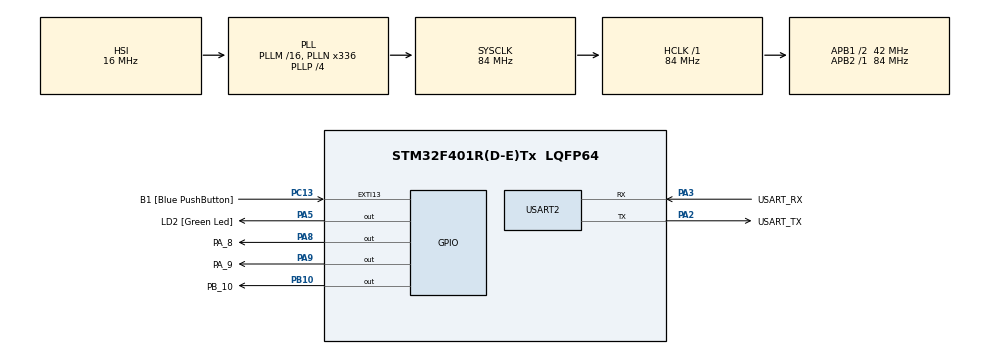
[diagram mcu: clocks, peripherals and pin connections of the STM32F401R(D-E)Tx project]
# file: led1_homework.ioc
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FREERTOS.Tasks01=defaultTask,0,128,StartDefaultTask,Default,NULL,Dynamic,NULL,NULL;myTask02,0,128,StartTask02,Default,NULL,Dynamic,NULL,NULL
Mcu.Family=STM32F4
Mcu.Name=STM32F401R(D-E)Tx
Mcu.Package=LQFP64
NVIC.PriorityGroup=NVIC_PRIORITYGROUP_4
PA13.GPIO_Label=TMS
PA13.Mode=Serial_Wire
PA13.Signal=SYS_JTMS-SWDIO
PA14.GPIO_Label=TCK
PA14.Mode=Serial_Wire
PA14.Signal=SYS_JTCK-SWCLK
PA2.GPIO_Label=USART_TX
PA2.GPIO_Mode=GPIO_MODE_AF_PP
PA2.GPIO_PuPd=GPIO_NOPULL
PA2.GPIO_Speed=GPIO_SPEED_FREQ_LOW
PA2.Mode=Asynchronous
PA2.Signal=USART2_TX
PA3.GPIO_Label=USART_RX
PA3.GPIO_Mode=GPIO_MODE_AF_PP
PA3.GPIO_PuPd=GPIO_NOPULL
PA3.GPIO_Speed=GPIO_SPEED_FREQ_LOW
PA3.Mode=Asynchronous
PA3.Signal=USART2_RX
PA5.GPIO_Label=LD2 [Green Led]
PA5.GPIO_Mode=GPIO_MODE_OUTPUT_PP
PA5.GPIO_PuPd=GPIO_NOPULL
PA5.GPIO_Speed=GPIO_SPEED_FREQ_LOW
PA5.Signal=GPIO_Output
PA8.GPIO_Label=PA_8
PA8.Signal=GPIO_Output
PA9.GPIO_Label=PA_9
PA9.Signal=GPIO_Output
PB10.GPIO_Label=PB_10
PB10.Signal=GPIO_Output
PB3.GPIO_Label=SWO
PB3.Signal=SYS_JTDO-SWO
PC13-ANTI_TAMP.GPIO_Label=B1 [Blue PushButton]
PC13-ANTI_TAMP.GPIO_ModeDefaultEXTI=GPIO_MODE_IT_FALLING
PC13-ANTI_TAMP.GPIO_PuPd=GPIO_NOPULL
PC13-ANTI_TAMP.Signal=GPXTI13
PC14-OSC32_IN.Mode=LSE-External-Oscillator
PC14-OSC32_IN.Signal=RCC_OSC32_IN
PC15-OSC32_OUT.Mode=LSE-External-Oscillator
PC15-OSC32_OUT.Signal=RCC_OSC32_OUT
PH0\ -\ OSC_IN.Mode=HSE-External-Clock-Source
PH0\ -\ OSC_IN.Signal=RCC_OSC_IN
PH1\ -\ OSC_OUT.Mode=HSE-External-Clock-Source
PH1\ -\ OSC_OUT.Signal=RCC_OSC_OUT
ProjectManager.HeapSize=0x200
ProjectManager.StackSize=0x400
ProjectManager.TargetToolchain=SW4STM32
RCC.48MHZClocksFreq_Value=48000000
RCC.AHBFreq_Value=84000000
RCC.APB1CLKDivider=RCC_HCLK_DIV2
RCC.APB1Freq_Value=42000000
RCC.APB1TimFreq_Value=84000000
RCC.APB2Freq_Value=84000000
RCC.APB2TimFreq_Value=84000000
RCC.CortexFreq_Value=84000000
RCC.HCLKFreq_Value=84000000
RCC.HSE_VALUE=8000000
RCC.HSI_VALUE=16000000
RCC.PLLN=336
RCC.PLLP=RCC_PLLP_DIV4
RCC.PLLQ=7
RCC.SYSCLKFreq_VALUE=84000000
RCC.SYSCLKSource=RCC_SYSCLKSOURCE_PLLCLK
RCC.VCOOutputFreq_Value=336000000
USART2.VirtualMode=VM_ASYNC
VP_FREERTOS_VS_CMSIS_V1.Mode=CMSIS_V1
board=NUCLEO-F401RE

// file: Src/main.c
/* USER CODE BEGIN Header */
/**
  ******************************************************************************
  * @file           : main.c
  * @brief          : Main program body
  ******************************************************************************
  * @attention
  *
  * <h2><center>&copy; Copyright (c) 2019 STMicroelectronics.
  * All rights reserved.</center></h2>
  *
  * This software component is licensed by ST under Ultimate Liberty license
  * SLA0044, the "License"; You may not use this file except in compliance with
  * the License. You may obtain a copy of the License at:
  *                             www.st.com/SLA0044
  *
  ******************************************************************************
  */
/* USER CODE END Header */

#include "main.h"
#include "cmsis_os.h"

UART_HandleTypeDef huart2;

osThreadId defaultTaskHandle;
osThreadId myTask02Handle;

void SystemClock_Config(void);
static void MX_GPIO_Init(void);
static void MX_USART2_UART_Init(void);
void StartDefaultTask(void const * argument);
void StartTask02(void const * argument);

int main(void)
{

  /* MCU Configuration--------------------------------------------------------*/

  /* Reset of all peripherals, Initializes the Flash interface and the Systick. */
  HAL_Init();

  /* Configure the system clock */
  SystemClock_Config();

  /* Initialize all configured peripherals */
  MX_GPIO_Init();
  MX_USART2_UART_Init();

  /* Create the thread(s) */
  /* definition and creation of defaultTask */
  osThreadDef(defaultTask, StartDefaultTask, osPriorityNormal, 0, 128);
  defaultTaskHandle = osThreadCreate(osThread(defaultTask), NULL);

  /* definition and creation of myTask02 */
  osThreadDef(myTask02, StartTask02, osPriorityNormal, 0, 128);
  myTask02Handle = osThreadCreate(osThread(myTask02), NULL);

  /* Start scheduler */
  osKernelStart();

  /* We should never get here as control is now taken by the scheduler */

  /* Infinite loop */
  while (1)
  {

  }
}

void SystemClock_Config(void)
{
  RCC_OscInitTypeDef RCC_OscInitStruct = {0};
  RCC_ClkInitTypeDef RCC_ClkInitStruct = {0};

  /** Configure the main internal regulator output voltage
  */
  __HAL_RCC_PWR_CLK_ENABLE();
  __HAL_PWR_VOLTAGESCALING_CONFIG(PWR_REGULATOR_VOLTAGE_SCALE2);
  /** Initializes the CPU, AHB and APB busses clocks
  */
  RCC_OscInitStruct.OscillatorType = RCC_OSCILLATORTYPE_HSI;
  RCC_OscInitStruct.HSIState = RCC_HSI_ON;
  RCC_OscInitStruct.HSICalibrationValue = RCC_HSICALIBRATION_DEFAULT;
  RCC_OscInitStruct.PLL.PLLState = RCC_PLL_ON;
  RCC_OscInitStruct.PLL.PLLSource = RCC_PLLSOURCE_HSI;
  RCC_OscInitStruct.PLL.PLLM = 16;
  RCC_OscInitStruct.PLL.PLLN = 336;
  RCC_OscInitStruct.PLL.PLLP = RCC_PLLP_DIV4;
  RCC_OscInitStruct.PLL.PLLQ = 7;
  if (HAL_RCC_OscConfig(&RCC_OscInitStruct) != HAL_OK)
  {
    Error_Handler();
  }
  /** Initializes the CPU, AHB and APB busses clocks
  */
  RCC_ClkInitStruct.ClockType = RCC_CLOCKTYPE_HCLK|RCC_CLOCKTYPE_SYSCLK
                              |RCC_CLOCKTYPE_PCLK1|RCC_CLOCKTYPE_PCLK2;
  RCC_ClkInitStruct.SYSCLKSource = RCC_SYSCLKSOURCE_PLLCLK;
  RCC_ClkInitStruct.AHBCLKDivider = RCC_SYSCLK_DIV1;
  RCC_ClkInitStruct.APB1CLKDivider = RCC_HCLK_DIV2;
  RCC_ClkInitStruct.APB2CLKDivider = RCC_HCLK_DIV1;

  if (HAL_RCC_ClockConfig(&RCC_ClkInitStruct, FLASH_LATENCY_2) != HAL_OK)
  {
    Error_Handler();
  }
}

static void MX_USART2_UART_Init(void)
{

  huart2.Instance = USART2;
  huart2.Init.BaudRate = 115200;
  huart2.Init.WordLength = UART_WORDLENGTH_8B;
  huart2.Init.StopBits = UART_STOPBITS_1;
  huart2.Init.Parity = UART_PARITY_NONE;
  huart2.Init.Mode = UART_MODE_TX_RX;
  huart2.Init.HwFlowCtl = UART_HWCONTROL_NONE;
  huart2.Init.OverSampling = UART_OVERSAMPLING_16;
  if (HAL_UART_Init(&huart2) != HAL_OK)
  {
    Error_Handler();
  }

}

static void MX_GPIO_Init(void)
{
  GPIO_InitTypeDef GPIO_InitStruct = {0};

  /* GPIO Ports Clock Enable */
  __HAL_RCC_GPIOC_CLK_ENABLE();
  __HAL_RCC_GPIOH_CLK_ENABLE();
  __HAL_RCC_GPIOA_CLK_ENABLE();
  __HAL_RCC_GPIOB_CLK_ENABLE();

  /*Configure GPIO pin Output Level */
  HAL_GPIO_WritePin(GPIOA, LD2_Pin|PA_8_Pin|PA_9_Pin, GPIO_PIN_RESET);

  /*Configure GPIO pin Output Level */
  HAL_GPIO_WritePin(PB_10_GPIO_Port, PB_10_Pin, GPIO_PIN_RESET);

  /*Configure GPIO pin : B1_Pin */
  GPIO_InitStruct.Pin = B1_Pin;
  GPIO_InitStruct.Mode = GPIO_MODE_IT_FALLING;
  GPIO_InitStruct.Pull = GPIO_NOPULL;
  HAL_GPIO_Init(B1_GPIO_Port, &GPIO_InitStruct);

  /*Configure GPIO pins : LD2_Pin PA_8_Pin PA_9_Pin */
  GPIO_InitStruct.Pin = LD2_Pin|PA_8_Pin|PA_9_Pin;
  GPIO_InitStruct.Mode = GPIO_MODE_OUTPUT_PP;
  GPIO_InitStruct.Pull = GPIO_NOPULL;
  GPIO_InitStruct.Speed = GPIO_SPEED_FREQ_LOW;
  HAL_GPIO_Init(GPIOA, &GPIO_InitStruct);

  /*Configure GPIO pin : PB_10_Pin */
  GPIO_InitStruct.Pin = PB_10_Pin;
  GPIO_InitStruct.Mode = GPIO_MODE_OUTPUT_PP;
  GPIO_InitStruct.Pull = GPIO_NOPULL;
  GPIO_InitStruct.Speed = GPIO_SPEED_FREQ_LOW;
  HAL_GPIO_Init(PB_10_GPIO_Port, &GPIO_InitStruct);

}

void StartDefaultTask(void const * argument)
{
	int pressed_flag = 0;

  /* USER CODE BEGIN 5 */
  /* Infinite loop */
  for(;;)
  {
	  /*HAL_GPIO_TogglePin(GPIOA, GPIO_PIN_9);
	  osDelay(123);*/

	  int state = (!HAL_GPIO_ReadPin(GPIOC, GPIO_PIN_13));

	  HAL_GPIO_WritePin(GPIOB, GPIO_PIN_10, state);
	  //HAL_GPIO_TogglePin(GPIOB, GPIO_PIN_10);

	  if(state) {
		  pressed_flag++;
		  osDelay(500);

		  /*HAL_GPIO_TogglePin(GPIOA, GPIO_PIN_5);
		  osDelay(400);*/
	  } else {
		  switch(pressed_flag) {
		  	  case 0:
		  		  break;

		  	  case 1:
		  		  HAL_GPIO_TogglePin(GPIOA, GPIO_PIN_5);
		  		  osDelay(500);
		  		  break;

		  	  case 2:
		  		  HAL_GPIO_WritePin(GPIOA, GPIO_PIN_5, 0);
		  		  pressed_flag = 0;
		  		  osDelay(500);
		  		  break;

		  	  default:
		  		  break;
		  }

		  /*if(pressed_flag == 1) {

		  } else if(pressed_flag == 2) {

		  } else {
			  pressed_flag = 1;
		  }*/
	  }

	  osDelay(100);
  }
  /* USER CODE END 5 */
}

void StartTask02(void const * argument)
{
  /* USER CODE BEGIN StartTask02 */
  /* Infinite loop */
  for(int i = 0; ; i++)
  {

	if(!(i%123)) {
		HAL_GPIO_TogglePin(GPIOA, GPIO_PIN_9);
	} else if(!(i%377)) {
		HAL_GPIO_TogglePin(GPIOA, GPIO_PIN_8);
	}
	osDelay(1);

	/*
	HAL_GPIO_TogglePin(GPIOA, GPIO_PIN_8);
    osDelay(377);*/
  }
  /* USER CODE END StartTask02 */
}

void Error_Handler(void)
{
}

/************************ (C) COPYRIGHT STMicroelectronics *****END OF FILE****/
